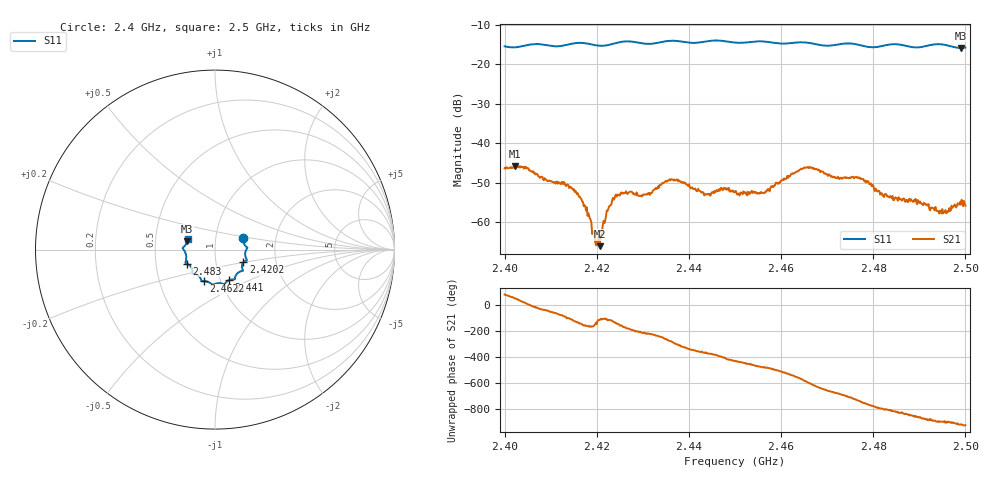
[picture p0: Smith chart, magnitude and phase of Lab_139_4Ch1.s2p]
# Hz S RI R 50
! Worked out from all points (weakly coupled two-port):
!   601 points, 2.4 GHz to 2.5 GHz, reference 50 ohm
!   highest |S21| = -45.77 dB at 2.4023 GHz (marker M1); lowest = -66.1 dB at 2.4207 GHz (marker M2)
!   lowest |S11| = -15.8 dB at 2.499 GHz (marker M3), VSWR 1.38, Z = 36.5 + j3.48 ohm
!   |S11| at or under -10 dB: start of sweep to end of sweep
!   S12 and S22 are empty: the file has one direction only
!   S11 on the Smith chart (normalised r, x): 2.4 GHz: 1.36, +0.18; 2.4202 GHz: 1.36, -0.20; 2.441 GHz: 1.10, -0.39; 2.4622 GHz: 0.83, -0.30; 2.483 GHz: 0.72, -0.12; 2.5 GHz: 0.73, +0.09
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2.4e9  0.1573 0.0629  0.000456 0.00482  0 0  0 0
2.402333e9  0.1607 0.0351  0.003 0.00418  0 0  0 0
2.413333e9  0.1708 -0.0427  1.12e-05 -0.00287  0 0  0 0
2.416667e9  0.1777 -0.0594  -0.00159 -0.00115  0 0  0 0
2.420167e9  0.1584 -0.0709  -0.000294 -0.000509  0 0  0 0
2.420667e9  0.1551 -0.0745  -0.000189 -0.000459  0 0  0 0
2.4225e9  0.1499 -0.0921  -0.000551 -0.00136  0 0  0 0
2.424e9  0.1521 -0.1061  -0.00141 -0.0016  0 0  0 0
2.429833e9  0.1377 -0.1231  -0.00181 0.00111  0 0  0 0
2.433333e9  0.1129 -0.1508  -0.00154 0.0024  0 0  0 0
2.436333e9  0.1103 -0.166  0.000708 0.00341  0 0  0 0
2.441e9  0.0785 -0.1699  0.00253 0.000689  0 0  0 0
2.45e9  0.0285 -0.1868  0.000904 -0.00224  0 0  0 0
2.456333e9  -0.0156 -0.1944  -0.000999 -0.0021  0 0  0 0
2.462167e9  -0.0618 -0.1757  -0.00407 -6.48e-05  0 0  0 0
2.466667e9  -0.0771 -0.1679  -0.00172 0.00464  0 0  0 0
2.477333e9  -0.1252 -0.1212  0.00325 -0.00151  0 0  0 0
2.483e9  -0.1585 -0.0775  0.000153 -0.00211  0 0  0 0
2.483333e9  -0.1605 -0.0768  -7.36e-06 -0.00211  0 0  0 0
2.494333e9  -0.1801 0.00826  -0.00129 6.31e-06  0 0  0 0
2.499e9  -0.1544 0.0464  -0.00157 0.000566  0 0  0 0
2.5e9  -0.1519 0.061  -0.00147 0.000692  0 0  0 0
